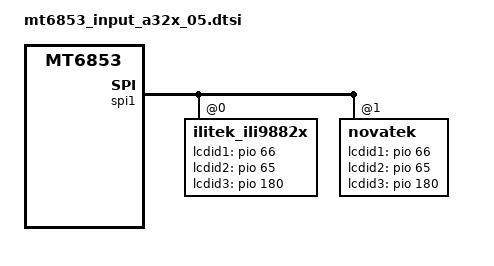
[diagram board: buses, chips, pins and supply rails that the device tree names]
/*
 * SAMSUNG Input Device Tree Source
 *
 * Copyright (c) Samsung Electronics Co., Ltd.
 *		http://www.samsung.com
 *
 * This program is free software; you can redistribute it and/or modify
 * it under the terms of the GNU General Public License version 2 as
 * published by the Free Software Foundation.
 */
/* TOUCH start */
/* touch gpio start */
&pio {
	tsp_id1_default: tsp-id1-default {
		pins_cmd_dat {
			pinmux = <PINMUX_GPIO66__FUNC_GPIO66>;
			slew-rate = <0>;
			input-enable;
			bias-disable;
		};
	};
	tsp_id2_default: tsp-id2-default {
		pins_cmd_dat {
			pinmux = <PINMUX_GPIO65__FUNC_GPIO65>;
			slew-rate = <0>;
			input-enable;
			bias-disable;
		};
	};
	tsp_id3_default: tsp-id3-default {
		pins_cmd_dat {
			pinmux = <PINMUX_GPIO180__FUNC_GPIO180>;
			slew-rate = <0>;
			input-enable;
			bias-disable;
		};
	};
};
/* touch gpio end */

&spi1 {
	
	ilitek_ili9882x@0 {
		iliteck,lcdid1-gpio = <&pio 66 0x0>;
		iliteck,lcdid2-gpio = <&pio 65 0x0>;
		iliteck,lcdid3-gpio = <&pio 180 0x0>;
		iliteck,lcdid = <0 4>;
		iliteck,lcdtype = <0x7250 0 0 0 0x3A7250>;
		iliteck,fw_name = "tsp_ilitek/ili9881x_a32x.hex","","","","tsp_ilitek/ili7806s_a32x.hex";
	};

	/* Novatek device tree node */
	novatek@1 {
		pinctrl-names = "on_state", "off_state";
		pinctrl-0 = <&intr_on &reset_on &tsp_on_miso &tsp_on_cs &tsp_on_mosi &tsp_on_clk &tsp_id1_default &tsp_id2_default &tsp_id3_default>;
		pinctrl-1 = <&intr_off &reset_off &tsp_off_miso &tsp_off_cs &tsp_off_mosi &tsp_off_clk &tsp_id1_default &tsp_id2_default &tsp_id3_default>;
		novatek,lcdid1-gpio = <&pio 66 0x0>;
		novatek,lcdid2-gpio = <&pio 65 0x0>;
		novatek,lcdid3-gpio = <&pio 180 0x0>;
		novatek,lcdid = <5 6>;	// LTPS, CSOT-sharp
		novatek,resume_lp_delay = <0 0 0 0 0 32 15>;	// LTPS, CSOT-sharp
		novatek,lcdtype = <0 0 0 0 0 0x3af240 0x2af240>;
		novatek,fw_name = "","","","","","tsp_novatek/nt36675_a32_ltps.bin","tsp_novatek/nt36525_a32_sharp.bin";
		novatek,fw_name_mp = "","","","","","tsp_novatek/nt36675_a32_mp_ltps.bin","tsp_novatek/nt36525_a32_mp_sharp.bin";
	};
};
/* TOUCH end */
